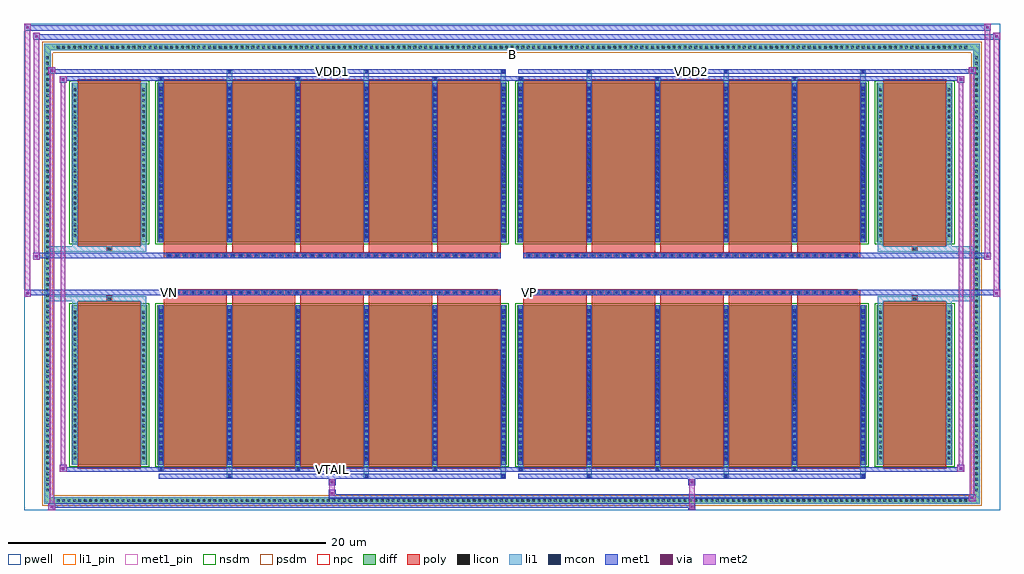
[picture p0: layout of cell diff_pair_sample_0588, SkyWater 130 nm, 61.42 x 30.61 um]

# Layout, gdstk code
import gdstk
lib = gdstk.Library(unit=1e-6, precision=5e-09)
def R(c, l, rs):  # rectangles x0, y0, x1, y1
    for r in rs: c.add(gdstk.rectangle(r[:2], r[2:], *l))
def A(c, l, x, y, w, h, nx, ny, dx, dy):  # array of equal rectangles
    R(c, l, [(x+i*dx, y+j*dy, x+i*dx+w, y+j*dy+h) for i in range(nx) for j in range(ny)])
def P(c, l, *ps):  # polygons
    for p in ps: c.add(gdstk.Polygon(p, *l))
pwell = (64, 44)
diff = (65, 20)
poly = (66, 20)
licon = (66, 44)
li1_pin = (67, 16)
li1 = (67, 20)
mcon = (67, 44)
met1_pin = (68, 16)
met1 = (68, 20)
via = (68, 44)
met2 = (69, 20)
nsdm = (93, 44)
psdm = (94, 20)
npc = (95, 20)

diff_pair_sample_0588 = lib.new_cell('diff_pair_sample_0588')
R(diff_pair_sample_0588, pwell, [(-30.71,-14.87,30.71,15.74), (-28.03,-13.06,-0.01,-0.8), (0.01,-13.06,28.03,-0.8), (-28.03,0.8,-0.01,13.06), (0.01,0.8,28.03,13.06)])
A(diff_pair_sample_0588, diff, -28.765, -14.47, 0.41, 0.41, 169, 2, 0.34, 28.53)
A(diff_pair_sample_0588, diff, -29.44, -13.805, 0.41, 0.41, 1, 81, 0, 0.34)
A(diff_pair_sample_0588, diff, 29.03, -13.805, 0.41, 0.41, 1, 81, 0, 0.34)
R(diff_pair_sample_0588, diff, [(-28.765,-14.47,28.765,-14.06), (-29.44,-13.805,-29.03,13.805), (29.03,-13.805,29.44,13.805), (-27.72,-12.015,-22.96,-1.985), (-22.32,-12.015,-0.32,-1.985), (0.32,-12.015,22.32,-1.985), (22.96,-12.015,27.72,-1.985), (-27.72,1.985,-22.96,12.015), (-22.32,1.985,-0.32,12.015), (0.32,1.985,22.32,12.015), (22.96,1.985,27.72,12.015), (-28.765,14.06,28.765,14.47)])
P(diff_pair_sample_0588, diff, [(29.44,14.47),(-29.44,14.47),(-29.44,-14.06),(-29.03,-14.06),(-29.03,14.06),(29.03,14.06),(29.03,-14.06),(-29.03,-14.06),(-29.44,-14.06),(-29.44,-14.47),(29.44,-14.47)])
A(diff_pair_sample_0588, poly, -21.93, -12.265, 3.98, 10.53, 5, 2, 4.31, 14)
A(diff_pair_sample_0588, poly, 0.71, -12.265, 3.98, 10.53, 5, 2, 4.31, 14)
A(diff_pair_sample_0588, poly, -21.93, -1.735, 3.98, 0.405, 5, 2, 4.31, 3.065)
A(diff_pair_sample_0588, poly, 0.71, -1.735, 3.98, 0.405, 5, 2, 4.31, 3.065)
A(diff_pair_sample_0588, poly, -21.735, -1.33, 0.33, 0.33, 42, 2, 0.5, 2.33)
A(diff_pair_sample_0588, poly, 0.905, -1.33, 0.33, 0.33, 42, 2, 0.5, 2.33)
R(diff_pair_sample_0588, poly, [(-27.33,-12.265,-23.35,-1.735), (23.35,-12.265,27.33,-1.735), (-25.505,-1.735,-25.175,-1.405), (-25.505,-1.735,-25.175,-1.405), (25.175,-1.735,25.505,-1.405), (25.175,-1.735,25.505,-1.405), (-21.93,-1.33,-0.71,-1), (0.71,-1.33,21.93,-1), (-21.93,1,-0.71,1.33), (0.71,1,21.93,1.33), (-25.505,1.405,-25.175,1.735), (-25.505,1.405,-25.175,1.735), (25.175,1.405,25.505,1.735), (25.175,1.405,25.505,1.735), (-27.33,1.735,-23.35,12.265), (23.35,1.735,27.33,12.265)])
A(diff_pair_sample_0588, licon, -28.645, -14.35, 0.17, 0.17, 169, 2, 0.34, 28.53)
A(diff_pair_sample_0588, licon, -29.32, -13.685, 0.17, 0.17, 1, 81, 0, 0.34)
A(diff_pair_sample_0588, licon, 29.15, -13.685, 0.17, 0.17, 1, 81, 0, 0.34)
A(diff_pair_sample_0588, licon, -27.58, -11.675, 0.17, 0.17, 1, 28, 0, 0.34)
A(diff_pair_sample_0588, licon, -23.27, -11.675, 0.17, 0.17, 1, 28, 0, 0.34)
A(diff_pair_sample_0588, licon, -22.18, -11.675, 0.17, 0.17, 6, 28, 4.31, 0.34)
A(diff_pair_sample_0588, licon, 0.46, -11.675, 0.17, 0.17, 6, 28, 4.31, 0.34)
A(diff_pair_sample_0588, licon, 23.1, -11.675, 0.17, 0.17, 1, 28, 0, 0.34)
A(diff_pair_sample_0588, licon, 27.41, -11.675, 0.17, 0.17, 1, 28, 0, 0.34)
A(diff_pair_sample_0588, licon, -21.655, -1.25, 0.17, 0.17, 42, 2, 0.5, 2.33)
A(diff_pair_sample_0588, licon, 0.985, -1.25, 0.17, 0.17, 42, 2, 0.5, 2.33)
A(diff_pair_sample_0588, licon, -27.58, 2.325, 0.17, 0.17, 1, 28, 0, 0.34)
A(diff_pair_sample_0588, licon, -23.27, 2.325, 0.17, 0.17, 1, 28, 0, 0.34)
A(diff_pair_sample_0588, licon, -22.18, 2.325, 0.17, 0.17, 6, 28, 4.31, 0.34)
A(diff_pair_sample_0588, licon, 0.46, 2.325, 0.17, 0.17, 6, 28, 4.31, 0.34)
A(diff_pair_sample_0588, licon, 23.1, 2.325, 0.17, 0.17, 1, 28, 0, 0.34)
A(diff_pair_sample_0588, licon, 27.41, 2.325, 0.17, 0.17, 1, 28, 0, 0.34)
R(diff_pair_sample_0588, licon, [(-25.425,-1.655,-25.255,-1.485), (25.255,-1.655,25.425,-1.485), (-25.425,1.485,-25.255,1.655), (25.255,1.485,25.425,1.655)])
R(diff_pair_sample_0588, li1_pin, [(-0.25,13.56,0.25,14.06)])
A(diff_pair_sample_0588, li1, -28.725, -14.43, 0.33, 0.33, 169, 2, 0.34, 28.53)
A(diff_pair_sample_0588, li1, -29.4, -13.765, 0.33, 0.33, 1, 81, 0, 0.34)
A(diff_pair_sample_0588, li1, 29.07, -13.765, 0.33, 0.33, 1, 81, 0, 0.34)
A(diff_pair_sample_0588, li1, -17.95, -12.82, 0.33, 0.805, 3, 2, 8.62, 24.835)
A(diff_pair_sample_0588, li1, -17.87, -12.82, 0.17, 0.17, 3, 2, 8.62, 25.47)
A(diff_pair_sample_0588, li1, 4.69, -12.82, 0.33, 0.805, 3, 2, 8.62, 24.835)
A(diff_pair_sample_0588, li1, 4.77, -12.82, 0.17, 0.17, 3, 2, 8.62, 25.47)
A(diff_pair_sample_0588, li1, -22.26, -12.39, 0.33, 0.375, 3, 2, 8.62, 24.405)
A(diff_pair_sample_0588, li1, -22.18, -12.39, 0.17, 0.17, 3, 2, 8.62, 24.61)
A(diff_pair_sample_0588, li1, 0.38, -12.39, 0.33, 0.375, 3, 2, 8.62, 24.405)
A(diff_pair_sample_0588, li1, 0.46, -12.39, 0.17, 0.17, 3, 2, 8.62, 24.61)
A(diff_pair_sample_0588, li1, -22.26, -12.015, 0.33, 10.03, 6, 2, 4.31, 14)
A(diff_pair_sample_0588, li1, 0.38, -12.015, 0.33, 10.03, 6, 2, 4.31, 14)
A(diff_pair_sample_0588, li1, -22.18, -11.765, 0.17, 0.17, 6, 27, 4.31, 0.36)
A(diff_pair_sample_0588, li1, -22.18, -11.765, 0.17, 9.53, 6, 2, 4.31, 14)
A(diff_pair_sample_0588, li1, 0.46, -11.765, 0.17, 0.17, 6, 27, 4.31, 0.36)
A(diff_pair_sample_0588, li1, 0.46, -11.765, 0.17, 9.53, 6, 2, 4.31, 14)
A(diff_pair_sample_0588, li1, -27.66, -11.755, 0.33, 0.33, 1, 28, 0, 0.34)
A(diff_pair_sample_0588, li1, -23.35, -11.755, 0.33, 0.33, 1, 28, 0, 0.34)
A(diff_pair_sample_0588, li1, -22.26, -11.755, 0.33, 0.33, 6, 28, 4.31, 0.34)
A(diff_pair_sample_0588, li1, 0.38, -11.755, 0.33, 0.33, 6, 28, 4.31, 0.34)
A(diff_pair_sample_0588, li1, 23.02, -11.755, 0.33, 0.33, 1, 28, 0, 0.34)
A(diff_pair_sample_0588, li1, 27.33, -11.755, 0.33, 0.33, 1, 28, 0, 0.34)
A(diff_pair_sample_0588, li1, -21.735, -1.33, 0.33, 0.33, 42, 2, 0.5, 2.33)
A(diff_pair_sample_0588, li1, 0.905, -1.33, 0.33, 0.33, 42, 2, 0.5, 2.33)
A(diff_pair_sample_0588, li1, -22.18, 2.235, 0.17, 0.17, 6, 27, 4.31, 0.36)
A(diff_pair_sample_0588, li1, 0.46, 2.235, 0.17, 0.17, 6, 27, 4.31, 0.36)
A(diff_pair_sample_0588, li1, -27.66, 2.245, 0.33, 0.33, 1, 28, 0, 0.34)
A(diff_pair_sample_0588, li1, -23.35, 2.245, 0.33, 0.33, 1, 28, 0, 0.34)
A(diff_pair_sample_0588, li1, -22.26, 2.245, 0.33, 0.33, 6, 28, 4.31, 0.34)
A(diff_pair_sample_0588, li1, 0.38, 2.245, 0.33, 0.33, 6, 28, 4.31, 0.34)
A(diff_pair_sample_0588, li1, 23.02, 2.245, 0.33, 0.33, 1, 28, 0, 0.34)
A(diff_pair_sample_0588, li1, 27.33, 2.245, 0.33, 0.33, 1, 28, 0, 0.34)
R(diff_pair_sample_0588, li1, [(-29.44,-14.47,-29.03,-14.06), (-29.44,-14.47,-29.03,-14.06), (-29.03,-14.47,29.03,-14.06), (29.03,-14.47,29.44,-14.06), (29.03,-14.47,29.44,-14.06), (-29.44,-14.06,-29.03,14.06), (29.03,-14.06,29.44,14.06), (-27.66,-12.015,-27.33,-1.985), (-23.35,-12.015,-23.02,-1.985), (23.02,-12.015,23.35,-1.985), (27.33,-12.015,27.66,-1.985), (-27.66,-1.985,-27.33,-1.405), (-23.35,-1.985,-23.02,-1.405), (23.02,-1.985,23.35,-1.405), (27.33,-1.985,27.66,-1.405), (-29.44,-1.735,-25.505,-1.405), (-27.66,-1.735,-25.505,-1.405), (-25.505,-1.735,-25.175,-1.405), (-25.175,-1.735,-23.02,-1.405), (23.02,-1.735,25.175,-1.405), (25.175,-1.735,25.505,-1.405), (25.175,-1.735,29.44,-1.405), (25.505,-1.735,27.66,-1.405), (-29.44,1.405,-25.505,1.735), (-27.66,1.405,-25.505,1.735), (-27.66,1.405,-27.33,1.985), (-25.505,1.405,-25.175,1.735), (-25.175,1.405,-23.02,1.735), (-23.35,1.405,-23.02,1.985), (23.02,1.405,25.175,1.735), (23.02,1.405,23.35,1.985), (25.175,1.405,25.505,1.735), (25.175,1.405,29.44,1.735), (25.505,1.405,27.66,1.735), (27.33,1.405,27.66,1.985), (-27.66,1.985,-27.33,12.015), (-23.35,1.985,-23.02,12.015), (23.02,1.985,23.35,12.015), (27.33,1.985,27.66,12.015), (-29.44,14.06,-29.03,14.47), (-29.44,14.06,-29.03,14.47), (-29.03,14.06,29.03,14.47), (29.03,14.06,29.44,14.47), (29.03,14.06,29.44,14.47)])
A(diff_pair_sample_0588, mcon, -17.87, -12.82, 0.17, 0.17, 3, 2, 8.62, 25.47)
A(diff_pair_sample_0588, mcon, 4.77, -12.82, 0.17, 0.17, 3, 2, 8.62, 25.47)
A(diff_pair_sample_0588, mcon, -22.18, -12.39, 0.17, 0.17, 3, 2, 8.62, 24.61)
A(diff_pair_sample_0588, mcon, 0.46, -12.39, 0.17, 0.17, 3, 2, 8.62, 24.61)
A(diff_pair_sample_0588, mcon, -22.18, -11.765, 0.17, 0.17, 6, 27, 4.31, 0.36)
A(diff_pair_sample_0588, mcon, 0.46, -11.765, 0.17, 0.17, 6, 27, 4.31, 0.36)
A(diff_pair_sample_0588, mcon, -21.655, -1.25, 0.17, 0.17, 42, 2, 0.5, 2.33)
A(diff_pair_sample_0588, mcon, 0.985, -1.25, 0.17, 0.17, 42, 2, 0.5, 2.33)
A(diff_pair_sample_0588, mcon, -22.18, 2.235, 0.17, 0.17, 6, 27, 4.31, 0.36)
A(diff_pair_sample_0588, mcon, 0.46, 2.235, 0.17, 0.17, 6, 27, 4.31, 0.36)
R(diff_pair_sample_0588, met1_pin, [(-11.455,-12.43,-11.185,-12.16), (-21.705,-1.29,-21.435,-1.02), (0.935,-1.29,1.205,-1.02), (-11.455,12.61,-11.185,12.88), (11.185,12.61,11.455,12.88)])
A(diff_pair_sample_0588, met1, -17.93, -12.88, 0.29, 0.29, 3, 2, 8.62, 25.47)
A(diff_pair_sample_0588, met1, 4.71, -12.88, 0.29, 0.29, 3, 2, 8.62, 25.47)
A(diff_pair_sample_0588, met1, -22.24, -12.45, 0.29, 0.29, 3, 2, 8.62, 24.61)
A(diff_pair_sample_0588, met1, 0.4, -12.45, 0.29, 0.29, 3, 2, 8.62, 24.61)
A(diff_pair_sample_0588, met1, -22.24, -12.015, 0.29, 10.03, 6, 2, 4.31, 14)
A(diff_pair_sample_0588, met1, 0.4, -12.015, 0.29, 10.03, 6, 2, 4.31, 14)
A(diff_pair_sample_0588, met1, -22.24, -11.825, 0.29, 0.29, 6, 27, 4.31, 0.36)
A(diff_pair_sample_0588, met1, 0.4, -11.825, 0.29, 0.29, 6, 27, 4.31, 0.36)
A(diff_pair_sample_0588, met1, -21.715, -1.31, 0.29, 0.29, 42, 2, 0.5, 2.33)
A(diff_pair_sample_0588, met1, 0.925, -1.31, 0.29, 0.29, 42, 2, 0.5, 2.33)
A(diff_pair_sample_0588, met1, -22.24, 2.175, 0.29, 0.29, 6, 27, 4.31, 0.36)
A(diff_pair_sample_0588, met1, 0.4, 2.175, 0.29, 0.29, 6, 27, 4.31, 0.36)
R(diff_pair_sample_0588, met1, [(-29.17,-14.87,-28.74,-14.44), (11.105,-14.87,11.535,-14.44), (-29.17,-14.73,11.535,-14.44), (28.74,-14.3,29.17,-13.87), (-11.535,-14.16,29.17,-13.87), (-11.535,-14.02,-11.105,-13.59), (-11.535,-13.31,-11.105,-12.88), (11.105,-13.31,11.535,-12.88), (-22.24,-12.88,-0.4,-12.59), (0.4,-12.88,22.24,-12.59), (-28.46,-12.45,-28.03,-12.02), (-28.46,-12.45,-22.24,-12.16), (-22.24,-12.45,-0.4,-12.16), (-0.4,-12.45,0.4,-12.16), (0.4,-12.45,22.24,-12.16), (22.24,-12.45,28.46,-12.16), (28.03,-12.45,28.46,-12.02), (-30.71,-1.43,-30.28,-1), (30.28,-1.43,30.71,-1), (-30.71,-1.33,-0.71,-1), (-21.93,-1.33,-0.71,-1), (0.71,-1.33,21.93,-1), (0.71,-1.33,30.71,-1), (-30.14,0.9,-29.71,1.33), (29.71,0.9,30.14,1.33), (-30.14,1,-21.93,1.33), (-21.93,1,-0.71,1.33), (0.71,1,21.93,1.33), (21.93,1,30.14,1.33), (-28.46,12.02,-28.03,12.45), (28.03,12.02,28.46,12.45), (-28.46,12.16,-22.24,12.45), (-22.24,12.16,-0.4,12.45), (-0.4,12.16,0.4,12.45), (0.4,12.16,22.24,12.45), (22.24,12.16,28.46,12.45), (-29.17,12.59,-28.74,13.02), (-29.17,12.59,-22.24,12.88), (-22.24,12.59,-0.4,12.88), (0.4,12.59,22.24,12.88), (22.24,12.59,29.17,12.88), (28.74,12.59,29.17,13.02), (-30.14,14.74,-29.71,15.17), (-30.14,14.74,-28.03,15.07), (-28.03,14.74,28.03,15.07), (28.03,14.74,30.71,15.07), (30.28,14.74,30.71,15.17), (-30.71,15.31,-30.28,15.74), (-30.71,15.31,-28.03,15.64), (-28.03,15.31,28.03,15.64), (28.03,15.31,30.14,15.64), (29.71,15.31,30.14,15.74)])
R(diff_pair_sample_0588, via, [(-29.03,-14.73,-28.88,-14.58), (11.245,-14.73,11.395,-14.58), (28.88,-14.16,29.03,-14.01), (-11.395,-13.88,-11.245,-13.73), (-11.395,-13.17,-11.245,-13.02), (11.245,-13.17,11.395,-13.02), (-28.32,-12.31,-28.17,-12.16), (28.17,-12.31,28.32,-12.16), (-30.57,-1.29,-30.42,-1.14), (30.42,-1.29,30.57,-1.14), (-30,1.04,-29.85,1.19), (29.85,1.04,30,1.19), (-28.32,12.16,-28.17,12.31), (28.17,12.16,28.32,12.31), (-29.03,12.73,-28.88,12.88), (28.88,12.73,29.03,12.88), (-30,14.88,-29.85,15.03), (30.42,14.88,30.57,15.03), (-30.57,15.45,-30.42,15.6), (29.85,15.45,30,15.6)])
R(diff_pair_sample_0588, met2, [(-29.17,-14.87,-28.74,-14.44), (-29.1,-14.87,-28.81,13.02), (-28.81,-14.87,-28.74,-14.44), (-29.12,-14.82,-28.79,-14.49), (11.155,-14.82,11.485,-14.49), (11.155,-14.49,11.485,-13.26), (28.74,-14.3,29.17,-13.87), (28.81,-14.3,29.1,13.02), (29.1,-14.3,29.17,-13.87), (28.79,-14.25,29.12,-13.92), (-11.485,-13.97,-11.155,-13.64), (-11.485,-13.64,-11.155,-13.26), (-11.485,-13.26,-11.155,-12.93), (11.155,-13.26,11.485,-12.93), (-28.46,-12.45,-28.03,-12.02), (-28.39,-12.45,-28.1,12.45), (-28.1,-12.45,-28.03,-12.02), (28.03,-12.45,28.46,-12.02), (28.1,-12.45,28.39,12.45), (28.39,-12.45,28.46,-12.02), (-28.41,-12.4,-28.08,-12.07), (28.08,-12.4,28.41,-12.07), (-30.71,-1.43,-30.28,-1), (-30.66,-1.43,-30.33,15.74), (-30.33,-1.43,-30.28,-1), (30.28,-1.43,30.71,-1), (30.33,-1.43,30.66,15.17), (30.66,-1.43,30.71,-1), (-30.66,-1.38,-30.33,-1.05), (30.33,-1.38,30.66,-1.05), (-30.14,0.9,-29.71,1.33), (-30.09,0.9,-29.76,15.17), (-29.76,0.9,-29.71,1.33), (29.71,0.9,30.14,1.33), (29.76,0.9,30.09,15.74), (30.09,0.9,30.14,1.33), (-30.09,0.95,-29.76,1.28), (29.76,0.95,30.09,1.28), (-28.46,12.02,-28.03,12.45), (-28.1,12.02,-28.03,12.45), (28.03,12.02,28.46,12.45), (28.39,12.02,28.46,12.45), (-28.41,12.07,-28.08,12.4), (28.08,12.07,28.41,12.4), (-29.17,12.59,-28.74,13.02), (-28.81,12.59,-28.74,13.02), (28.74,12.59,29.17,13.02), (29.1,12.59,29.17,13.02), (-29.12,12.64,-28.79,12.97), (28.79,12.64,29.12,12.97), (-30.14,14.74,-29.71,15.17), (-29.76,14.74,-29.71,15.17), (30.28,14.74,30.71,15.17), (30.66,14.74,30.71,15.17), (-30.09,14.79,-29.76,15.12), (30.33,14.79,30.66,15.12), (-30.71,15.31,-30.28,15.74), (-30.33,15.31,-30.28,15.74), (29.71,15.31,30.14,15.74), (30.09,15.31,30.14,15.74), (-30.66,15.36,-30.33,15.69), (29.76,15.36,30.09,15.69)])
R(diff_pair_sample_0588, nsdm, [(-27.85,-12.145,-22.83,-1.855), (-22.45,-12.145,-0.19,-1.855), (0.19,-12.145,22.45,-1.855), (22.83,-12.145,27.85,-1.855), (-27.85,1.855,-22.83,12.145), (-22.45,1.855,-0.19,12.145), (0.19,1.855,22.45,12.145), (22.83,1.855,27.85,12.145)])
P(diff_pair_sample_0588, psdm, [(29.57,14.6),(-29.57,14.6),(-29.57,-13.93),(-28.9,-13.93),(-28.9,13.93),(28.9,13.93),(28.9,-13.93),(-28.9,-13.93),(-29.57,-13.93),(-29.57,-14.6),(29.57,-14.6)])
A(diff_pair_sample_0588, npc, -21.755, -1.35, 0.37, 0.37, 42, 2, 0.5, 2.33)
A(diff_pair_sample_0588, npc, 0.885, -1.35, 0.37, 0.37, 42, 2, 0.5, 2.33)
R(diff_pair_sample_0588, npc, [(-25.525,-1.755,-25.155,-1.385), (25.155,-1.755,25.525,-1.385), (-21.755,-1.35,-20.885,-0.98), (-21.755,-1.35,-20.885,-0.98), (-21.255,-1.35,-20.385,-0.98), (-21.255,-1.35,-20.385,-0.98), (-20.755,-1.35,-19.885,-0.98), (-20.755,-1.35,-19.885,-0.98), (-20.255,-1.35,-19.385,-0.98), (-20.255,-1.35,-19.385,-0.98), (-19.755,-1.35,-18.885,-0.98), (-19.755,-1.35,-18.885,-0.98), (-19.255,-1.35,-18.385,-0.98), (-19.255,-1.35,-18.385,-0.98), (-18.755,-1.35,-17.885,-0.98), (-18.755,-1.35,-17.885,-0.98), (-18.255,-1.35,-17.385,-0.98), (-18.255,-1.35,-17.385,-0.98), (-17.755,-1.35,-16.885,-0.98), (-17.755,-1.35,-16.885,-0.98), (-17.255,-1.35,-16.385,-0.98), (-17.255,-1.35,-16.385,-0.98), (-16.755,-1.35,-15.885,-0.98), (-16.755,-1.35,-15.885,-0.98), (-16.255,-1.35,-15.385,-0.98), (-16.255,-1.35,-15.385,-0.98), (-15.755,-1.35,-14.885,-0.98), (-15.755,-1.35,-14.885,-0.98), (-15.255,-1.35,-14.385,-0.98), (-15.255,-1.35,-14.385,-0.98), (-14.755,-1.35,-13.885,-0.98), (-14.755,-1.35,-13.885,-0.98), (-14.255,-1.35,-13.385,-0.98), (-14.255,-1.35,-13.385,-0.98), (-13.755,-1.35,-12.885,-0.98), (-13.755,-1.35,-12.885,-0.98), (-13.255,-1.35,-12.385,-0.98), (-13.255,-1.35,-12.385,-0.98), (-12.755,-1.35,-11.885,-0.98), (-12.755,-1.35,-11.885,-0.98), (-12.255,-1.35,-11.385,-0.98), (-12.255,-1.35,-11.385,-0.98), (-11.755,-1.35,-10.885,-0.98), (-11.755,-1.35,-10.885,-0.98), (-11.255,-1.35,-10.385,-0.98), (-11.255,-1.35,-10.385,-0.98), (-10.755,-1.35,-9.885,-0.98), (-10.755,-1.35,-9.885,-0.98), (-10.255,-1.35,-9.385,-0.98), (-10.255,-1.35,-9.385,-0.98), (-9.755,-1.35,-8.885,-0.98), (-9.755,-1.35,-8.885,-0.98), (-9.255,-1.35,-8.385,-0.98), (-9.255,-1.35,-8.385,-0.98), (-8.755,-1.35,-7.885,-0.98), (-8.755,-1.35,-7.885,-0.98), (-8.255,-1.35,-7.385,-0.98), (-8.255,-1.35,-7.385,-0.98), (-7.755,-1.35,-6.885,-0.98), (-7.755,-1.35,-6.885,-0.98), (-7.255,-1.35,-6.385,-0.98), (-7.255,-1.35,-6.385,-0.98), (-6.755,-1.35,-5.885,-0.98), (-6.755,-1.35,-5.885,-0.98), (-6.255,-1.35,-5.385,-0.98), (-6.255,-1.35,-5.385,-0.98), (-5.755,-1.35,-4.885,-0.98), (-5.755,-1.35,-4.885,-0.98), (-5.255,-1.35,-4.385,-0.98), (-5.255,-1.35,-4.385,-0.98), (-4.755,-1.35,-3.885,-0.98), (-4.755,-1.35,-3.885,-0.98), (-4.255,-1.35,-3.385,-0.98), (-4.255,-1.35,-3.385,-0.98), (-3.755,-1.35,-2.885,-0.98), (-3.755,-1.35,-2.885,-0.98), (-3.255,-1.35,-2.385,-0.98), (-3.255,-1.35,-2.385,-0.98), (-2.755,-1.35,-1.885,-0.98), (-2.755,-1.35,-1.885,-0.98), (-2.255,-1.35,-1.385,-0.98), (-2.255,-1.35,-1.385,-0.98), (-1.755,-1.35,-0.885,-0.98), (-1.755,-1.35,-0.885,-0.98), (0.885,-1.35,1.755,-0.98), (0.885,-1.35,1.755,-0.98), (1.385,-1.35,2.255,-0.98), (1.385,-1.35,2.255,-0.98), (1.885,-1.35,2.755,-0.98), (1.885,-1.35,2.755,-0.98), (2.385,-1.35,3.255,-0.98), (2.385,-1.35,3.255,-0.98), (2.885,-1.35,3.755,-0.98), (2.885,-1.35,3.755,-0.98), (3.385,-1.35,4.255,-0.98), (3.385,-1.35,4.255,-0.98), (3.885,-1.35,4.755,-0.98), (3.885,-1.35,4.755,-0.98), (4.385,-1.35,5.255,-0.98), (4.385,-1.35,5.255,-0.98), (4.885,-1.35,5.755,-0.98), (4.885,-1.35,5.755,-0.98), (5.385,-1.35,6.255,-0.98), (5.385,-1.35,6.255,-0.98), (5.885,-1.35,6.755,-0.98), (5.885,-1.35,6.755,-0.98), (6.385,-1.35,7.255,-0.98), (6.385,-1.35,7.255,-0.98), (6.885,-1.35,7.755,-0.98), (6.885,-1.35,7.755,-0.98), (7.385,-1.35,8.255,-0.98), (7.385,-1.35,8.255,-0.98), (7.885,-1.35,8.755,-0.98), (7.885,-1.35,8.755,-0.98), (8.385,-1.35,9.255,-0.98), (8.385,-1.35,9.255,-0.98), (8.885,-1.35,9.755,-0.98), (8.885,-1.35,9.755,-0.98), (9.385,-1.35,10.255,-0.98), (9.385,-1.35,10.255,-0.98), (9.885,-1.35,10.755,-0.98), (9.885,-1.35,10.755,-0.98), (10.385,-1.35,11.255,-0.98), (10.385,-1.35,11.255,-0.98), (10.885,-1.35,11.755,-0.98), (10.885,-1.35,11.755,-0.98), (11.385,-1.35,12.255,-0.98), (11.385,-1.35,12.255,-0.98), (11.885,-1.35,12.755,-0.98), (11.885,-1.35,12.755,-0.98), (12.385,-1.35,13.255,-0.98), (12.385,-1.35,13.255,-0.98), (12.885,-1.35,13.755,-0.98), (12.885,-1.35,13.755,-0.98), (13.385,-1.35,14.255,-0.98), (13.385,-1.35,14.255,-0.98), (13.885,-1.35,14.755,-0.98), (13.885,-1.35,14.755,-0.98), (14.385,-1.35,15.255,-0.98), (14.385,-1.35,15.255,-0.98), (14.885,-1.35,15.755,-0.98), (14.885,-1.35,15.755,-0.98), (15.385,-1.35,16.255,-0.98), (15.385,-1.35,16.255,-0.98), (15.885,-1.35,16.755,-0.98), (15.885,-1.35,16.755,-0.98), (16.385,-1.35,17.255,-0.98), (16.385,-1.35,17.255,-0.98), (16.885,-1.35,17.755,-0.98), (16.885,-1.35,17.755,-0.98), (17.385,-1.35,18.255,-0.98), (17.385,-1.35,18.255,-0.98), (17.885,-1.35,18.755,-0.98), (17.885,-1.35,18.755,-0.98), (18.385,-1.35,19.255,-0.98), (18.385,-1.35,19.255,-0.98), (18.885,-1.35,19.755,-0.98), (18.885,-1.35,19.755,-0.98), (19.385,-1.35,20.255,-0.98), (19.385,-1.35,20.255,-0.98), (19.885,-1.35,20.755,-0.98), (19.885,-1.35,20.755,-0.98), (20.385,-1.35,21.255,-0.98), (20.385,-1.35,21.255,-0.98), (20.885,-1.35,21.755,-0.98), (20.885,-1.35,21.755,-0.98), (-21.755,0.98,-20.885,1.35), (-21.755,0.98,-20.885,1.35), (-21.255,0.98,-20.385,1.35), (-21.255,0.98,-20.385,1.35), (-20.755,0.98,-19.885,1.35), (-20.755,0.98,-19.885,1.35), (-20.255,0.98,-19.385,1.35), (-20.255,0.98,-19.385,1.35), (-19.755,0.98,-18.885,1.35), (-19.755,0.98,-18.885,1.35), (-19.255,0.98,-18.385,1.35), (-19.255,0.98,-18.385,1.35), (-18.755,0.98,-17.885,1.35), (-18.755,0.98,-17.885,1.35), (-18.255,0.98,-17.385,1.35), (-18.255,0.98,-17.385,1.35), (-17.755,0.98,-16.885,1.35), (-17.755,0.98,-16.885,1.35), (-17.255,0.98,-16.385,1.35), (-17.255,0.98,-16.385,1.35), (-16.755,0.98,-15.885,1.35), (-16.755,0.98,-15.885,1.35), (-16.255,0.98,-15.385,1.35), (-16.255,0.98,-15.385,1.35), (-15.755,0.98,-14.885,1.35), (-15.755,0.98,-14.885,1.35), (-15.255,0.98,-14.385,1.35), (-15.255,0.98,-14.385,1.35), (-14.755,0.98,-13.885,1.35), (-14.755,0.98,-13.885,1.35), (-14.255,0.98,-13.385,1.35), (-14.255,0.98,-13.385,1.35), (-13.755,0.98,-12.885,1.35), (-13.755,0.98,-12.885,1.35), (-13.255,0.98,-12.385,1.35), (-13.255,0.98,-12.385,1.35), (-12.755,0.98,-11.885,1.35), (-12.755,0.98,-11.885,1.35), (-12.255,0.98,-11.385,1.35), (-12.255,0.98,-11.385,1.35), (-11.755,0.98,-10.885,1.35), (-11.755,0.98,-10.885,1.35), (-11.255,0.98,-10.385,1.35), (-11.255,0.98,-10.385,1.35), (-10.755,0.98,-9.885,1.35), (-10.755,0.98,-9.885,1.35), (-10.255,0.98,-9.385,1.35), (-10.255,0.98,-9.385,1.35), (-9.755,0.98,-8.885,1.35), (-9.755,0.98,-8.885,1.35), (-9.255,0.98,-8.385,1.35), (-9.255,0.98,-8.385,1.35), (-8.755,0.98,-7.885,1.35), (-8.755,0.98,-7.885,1.35), (-8.255,0.98,-7.385,1.35), (-8.255,0.98,-7.385,1.35), (-7.755,0.98,-6.885,1.35), (-7.755,0.98,-6.885,1.35), (-7.255,0.98,-6.385,1.35), (-7.255,0.98,-6.385,1.35), (-6.755,0.98,-5.885,1.35), (-6.755,0.98,-5.885,1.35), (-6.255,0.98,-5.385,1.35), (-6.255,0.98,-5.385,1.35), (-5.755,0.98,-4.885,1.35), (-5.755,0.98,-4.885,1.35), (-5.255,0.98,-4.385,1.35), (-5.255,0.98,-4.385,1.35), (-4.755,0.98,-3.885,1.35), (-4.755,0.98,-3.885,1.35), (-4.255,0.98,-3.385,1.35), (-4.255,0.98,-3.385,1.35), (-3.755,0.98,-2.885,1.35), (-3.755,0.98,-2.885,1.35), (-3.255,0.98,-2.385,1.35), (-3.255,0.98,-2.385,1.35), (-2.755,0.98,-1.885,1.35), (-2.755,0.98,-1.885,1.35), (-2.255,0.98,-1.385,1.35), (-2.255,0.98,-1.385,1.35), (-1.755,0.98,-0.885,1.35), (-1.755,0.98,-0.885,1.35), (0.885,0.98,1.755,1.35), (0.885,0.98,1.755,1.35), (1.385,0.98,2.255,1.35), (1.385,0.98,2.255,1.35), (1.885,0.98,2.755,1.35), (1.885,0.98,2.755,1.35), (2.385,0.98,3.255,1.35), (2.385,0.98,3.255,1.35), (2.885,0.98,3.755,1.35), (2.885,0.98,3.755,1.35), (3.385,0.98,4.255,1.35), (3.385,0.98,4.255,1.35), (3.885,0.98,4.755,1.35), (3.885,0.98,4.755,1.35), (4.385,0.98,5.255,1.35), (4.385,0.98,5.255,1.35), (4.885,0.98,5.755,1.35), (4.885,0.98,5.755,1.35), (5.385,0.98,6.255,1.35), (5.385,0.98,6.255,1.35), (5.885,0.98,6.755,1.35), (5.885,0.98,6.755,1.35), (6.385,0.98,7.255,1.35), (6.385,0.98,7.255,1.35), (6.885,0.98,7.755,1.35), (6.885,0.98,7.755,1.35), (7.385,0.98,8.255,1.35), (7.385,0.98,8.255,1.35), (7.885,0.98,8.755,1.35), (7.885,0.98,8.755,1.35), (8.385,0.98,9.255,1.35), (8.385,0.98,9.255,1.35), (8.885,0.98,9.755,1.35), (8.885,0.98,9.755,1.35), (9.385,0.98,10.255,1.35), (9.385,0.98,10.255,1.35), (9.885,0.98,10.755,1.35), (9.885,0.98,10.755,1.35), (10.385,0.98,11.255,1.35), (10.385,0.98,11.255,1.35), (10.885,0.98,11.755,1.35), (10.885,0.98,11.755,1.35), (11.385,0.98,12.255,1.35), (11.385,0.98,12.255,1.35), (11.885,0.98,12.755,1.35), (11.885,0.98,12.755,1.35), (12.385,0.98,13.255,1.35), (12.385,0.98,13.255,1.35), (12.885,0.98,13.755,1.35), (12.885,0.98,13.755,1.35), (13.385,0.98,14.255,1.35), (13.385,0.98,14.255,1.35), (13.885,0.98,14.755,1.35), (13.885,0.98,14.755,1.35), (14.385,0.98,15.255,1.35), (14.385,0.98,15.255,1.35), (14.885,0.98,15.755,1.35), (14.885,0.98,15.755,1.35), (15.385,0.98,16.255,1.35), (15.385,0.98,16.255,1.35), (15.885,0.98,16.755,1.35), (15.885,0.98,16.755,1.35), (16.385,0.98,17.255,1.35), (16.385,0.98,17.255,1.35), (16.885,0.98,17.755,1.35), (16.885,0.98,17.755,1.35), (17.385,0.98,18.255,1.35), (17.385,0.98,18.255,1.35), (17.885,0.98,18.755,1.35), (17.885,0.98,18.755,1.35), (18.385,0.98,19.255,1.35), (18.385,0.98,19.255,1.35), (18.885,0.98,19.755,1.35), (18.885,0.98,19.755,1.35), (19.385,0.98,20.255,1.35), (19.385,0.98,20.255,1.35), (19.885,0.98,20.755,1.35), (19.885,0.98,20.755,1.35), (20.385,0.98,21.255,1.35), (20.385,0.98,21.255,1.35), (20.885,0.98,21.755,1.35), (20.885,0.98,21.755,1.35), (-25.525,1.385,-25.155,1.755), (25.155,1.385,25.525,1.755)])
diff_pair_sample_0588.add(gdstk.Label('VTAIL', (-11.32,-12.295), layer=68, texttype=5))
diff_pair_sample_0588.add(gdstk.Label('VN', (-21.57,-1.155), layer=68, texttype=5))
diff_pair_sample_0588.add(gdstk.Label('VP', (1.07,-1.155), layer=68, texttype=5))
diff_pair_sample_0588.add(gdstk.Label('B', (0,13.81), layer=67, texttype=5))
diff_pair_sample_0588.add(gdstk.Label('VDD2', (11.32,12.745), layer=68, texttype=5))
diff_pair_sample_0588.add(gdstk.Label('VDD1', (-11.32,12.745), layer=68, texttype=5))

lib.write_gds('diff_pair_sample_0588.gds')
